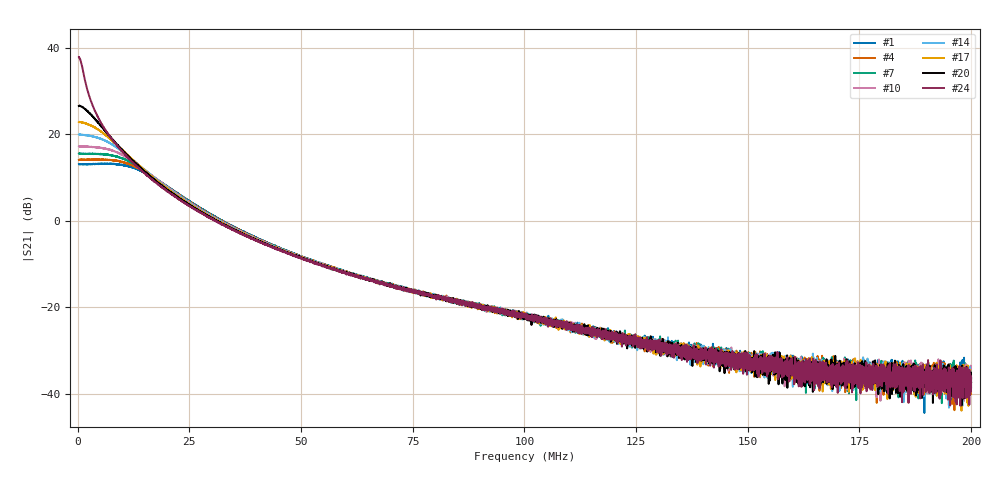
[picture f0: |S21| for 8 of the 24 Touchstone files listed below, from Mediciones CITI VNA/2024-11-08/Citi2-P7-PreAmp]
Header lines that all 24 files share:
# Hz S DB R 50
! CMT, M5065, 19127446, 24.2.4/2
! Data: Format (Calibration Info)
! Freq	S11:dB/Ang(F2)	S21:dB/Ang(F2)	S12:dB/Ang(F2)	S22:dB/Ang(F2)
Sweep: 300 kHz to 200 MHz
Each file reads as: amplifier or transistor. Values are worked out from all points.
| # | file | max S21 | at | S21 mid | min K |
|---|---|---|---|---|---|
| 1 | ganancia_40.s2p | 13.2 dB | 5.226 MHz | -22.4 dB at 100.2 MHz | 1.94 |
| 2 | ganancia_41.s2p | 13.6 dB | 5.892 MHz | -22.4 dB at 100.2 MHz | 2.63 |
| 3 | ganancia_42.s2p | 13.9 dB | 5.293 MHz | -22.4 dB at 100.2 MHz | 2.24 |
| 4 | ganancia_43.s2p | 14.2 dB | 5.027 MHz | -22.1 dB at 100.2 MHz | 1.72 |
| 5 | ganancia_44.s2p | 14.7 dB | 3.962 MHz | -22.0 dB at 100.2 MHz | 2.68 |
| 6 | ganancia_45.s2p | 15.1 dB | 4.672 MHz | -22.1 dB at 100.2 MHz | 2.80 |
| 7 | ganancia_46.s2p | 15.6 dB | 388.8 kHz | -22.6 dB at 100.2 MHz | 1.60 |
| 8 | ganancia_47.s2p | 16.0 dB | 1.01 MHz | -22.2 dB at 100.2 MHz | 2.55 |
| 9 | ganancia_48.s2p | 16.8 dB | 388.8 kHz | -22.1 dB at 100.2 MHz | 1.77 |
| 10 | ganancia_49.s2p | 17.2 dB | 2.097 MHz | -22.5 dB at 100.2 MHz | 1.75 |
| 11 | ganancia_50.s2p | 17.8 dB | 655.1 kHz | -22.2 dB at 100.2 MHz | 1.92 |
| 12 | ganancia_51.s2p | 18.4 dB | 766 kHz | -22.1 dB at 100.2 MHz | 1.63 |
| 13 | ganancia_52.s2p | 19.3 dB | 588.5 kHz | -22.1 dB at 100.2 MHz | 1.73 |
| 14 | ganancia_53.s2p | 20.0 dB | 455.3 kHz | -22.1 dB at 100.2 MHz | 1.64 |
| 15 | ganancia_54.s2p | 20.8 dB | 455.3 kHz | -22.0 dB at 100.2 MHz | 1.46 |
| 16 | ganancia_55.s2p | 21.6 dB | 566.3 kHz | -22.3 dB at 100.2 MHz | 0.95 |
| 17 | ganancia_56.s2p | 22.9 dB | 366.6 kHz | -22.3 dB at 100.2 MHz | 1.13 |
| 18 | ganancia_57.s2p | 23.9 dB | 477.5 kHz | -22.3 dB at 100.2 MHz | 1.05 |
| 19 | ganancia_58.s2p | 25.2 dB | 455.3 kHz | -22.6 dB at 100.2 MHz | 0.92 |
| 20 | ganancia_59.s2p | 26.6 dB | 411 kHz | -21.8 dB at 100.2 MHz | 0.93 |
| 21 | ganancia_60.s2p | 29.3 dB | 366.6 kHz | -22.1 dB at 100.2 MHz | 0.82 |
| 22 | ganancia_61.s2p | 31.6 dB | 366.6 kHz | -22.4 dB at 100.2 MHz | 0.91 |
| 23 | ganancia_62.s2p | 34.9 dB | 366.6 kHz | -21.5 dB at 100.2 MHz | 0.82 |
| 24 | ganancia_63.s2p | 37.8 dB | 300 kHz | -21.6 dB at 100.2 MHz | 0.78 |
